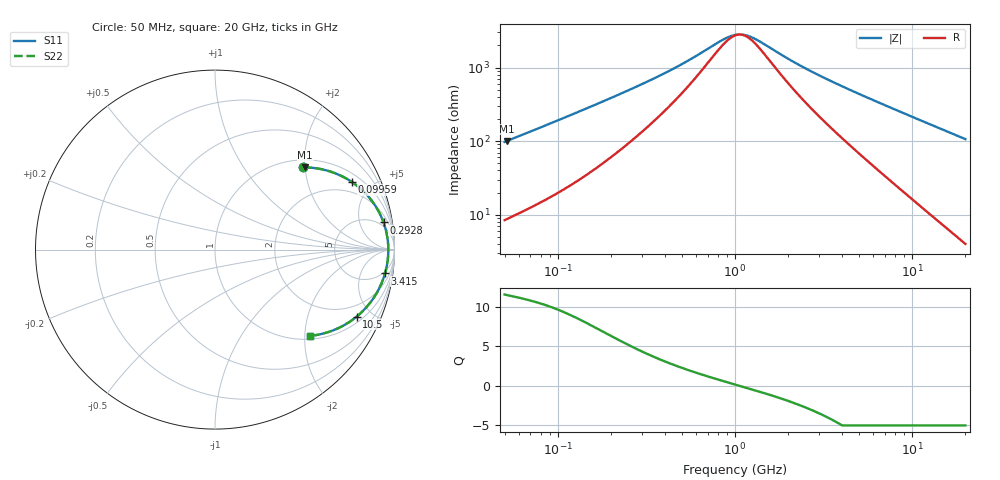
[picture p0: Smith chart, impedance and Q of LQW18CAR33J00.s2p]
!Murata Part Number: LQW18CAR33J00
!These Parameters are Measured in Series Mode Connection
!  o--[Z]--o
!Port1  Port2
!  o-------o
!Freq. Start=50[MHz] Stop=20[GHz], 401[Steps]
# Hz S RI R 50
!Freq.(Hz) S11(Real) S11(Imag) S21(Real) S21(Imag) S12(Real) S12(Imag) S22(Real) S22(Imag)
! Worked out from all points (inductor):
!   401 points, 50 MHz to 20 GHz, reference 50 ohm
!   read as one part in series: L = 305 nH near 51.52 MHz
!   highest Q = 11.5 at 51.52 MHz (marker M1), where L = 309 nH
!   self-resonance near 1.062 GHz
!   S11 on the Smith chart (normalised r, x): 50 MHz: 1.17, +1.94; 99.59 MHz: 1.39, +3.79; 292.8 MHz: 4, +11; 3.415 GHz: 4, -13; 10.5 GHz: 1.29, -4.07; 20 GHz: 1.08, -2.13
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5e7  0.4885 0.4584  0.5115 -0.4584  0.5115 -0.4584  0.4885 0.4584
5.152053e7  0.5018 0.4583  0.4982 -0.4583  0.4982 -0.4583  0.5018 0.4583
6.951576e7  0.631 0.4384  0.369 -0.4384  0.369 -0.4384  0.631 0.4384
9.958798e7  0.7622 0.377  0.2378 -0.377  0.2378 -0.377  0.7622 0.377
1.364002e8  0.8445 0.3068  0.1555 -0.3068  0.1555 -0.3068  0.8445 0.3068
1.925012e8  0.9019 0.2303  0.0981 -0.2303  0.0981 -0.2303  0.9019 0.2303
2.928045e8  0.9391 0.1514  0.0609 -0.1514  0.0609 -0.1514  0.9391 0.1514
3.721004e8  0.9506 0.1147  0.0494 -0.1147  0.0494 -0.1147  0.9506 0.1147
5.411141e8  0.9605 0.0674  0.0395 -0.0674  0.0395 -0.0674  0.9605 0.0674
8.480927e8  0.9651 0.0212  0.0349 -0.0212  0.0349 -0.0212  0.9651 0.0212
9.278425e8  0.9655 0.0127  0.0345 -0.0127  0.0345 -0.0127  0.9655 0.0127
1e9  0.9656 0.00565  0.0344 -0.00565  0.0344 -0.00565  0.9656 0.00565
1.127304e9  0.9657 -0.00553  0.0343 0.00553  0.0343 0.00553  0.9657 -0.00553
1.270815e9  0.9655 -0.0168  0.0345 0.0168  0.0345 0.0168  0.9655 -0.0168
2.05233e9  0.9613 -0.0656  0.0387 0.0656  0.0387 0.0656  0.9613 -0.0656
2.728004e9  0.9553 -0.1005  0.0447 0.1005  0.0447 0.1005  0.9553 -0.1005
3.415248e9  0.9472 -0.1328  0.0528 0.1328  0.0528 0.1328  0.9472 -0.1328
5.273168e9  0.9174 -0.211  0.0826 0.211  0.0826 0.211  0.9174 -0.211
7.442007e9  0.8703 -0.2884  0.1297 0.2884  0.1297 0.2884  0.8703 -0.2884
1.050288e10  0.7896 -0.3731  0.2104 0.3731  0.2104 0.3731  0.7896 -0.3731
1.504638e10  0.6601 -0.4492  0.3399 0.4492  0.3399 0.4492  0.6601 -0.4492
2e10  0.5302 -0.4806  0.4698 0.4806  0.4698 0.4806  0.5302 -0.4806
